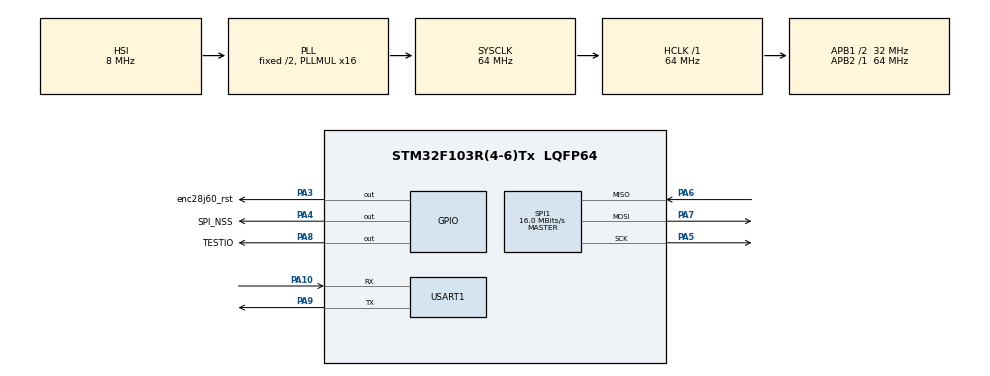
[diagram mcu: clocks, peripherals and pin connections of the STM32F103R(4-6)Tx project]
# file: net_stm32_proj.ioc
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Mcu.Family=STM32F1
Mcu.Name=STM32F103R(4-6)Tx
Mcu.Package=LQFP64
NVIC.PriorityGroup=NVIC_PRIORITYGROUP_4
PA10.Mode=Asynchronous
PA10.Signal=USART1_RX
PA3.GPIO_Label=enc28j60_rst
PA3.Signal=GPIO_Output
PA4.GPIO_Label=SPI_NSS
PA4.Signal=GPIO_Output
PA5.Mode=Full_Duplex_Master
PA5.Signal=SPI1_SCK
PA6.Mode=Full_Duplex_Master
PA6.Signal=SPI1_MISO
PA7.Mode=Full_Duplex_Master
PA7.Signal=SPI1_MOSI
PA8.GPIO_Label=TESTIO
PA8.Signal=GPIO_Output
PA9.Mode=Asynchronous
PA9.Signal=USART1_TX
ProjectManager.HeapSize=0x200
ProjectManager.StackSize=0x400
ProjectManager.TargetToolchain=MDK-ARM V4
RCC.AHBFreq_Value=64000000
RCC.APB1CLKDivider=RCC_HCLK_DIV2
RCC.APB1Freq_Value=32000000
RCC.APB1TimFreq_Value=64000000
RCC.APB2Freq_Value=64000000
RCC.APB2TimFreq_Value=64000000
RCC.HCLKFreq_Value=64000000
RCC.PLLMUL=RCC_PLL_MUL16
RCC.SYSCLKFreq_VALUE=64000000
RCC.SYSCLKSource=RCC_SYSCLKSOURCE_PLLCLK
RCC.USBFreq_Value=64000000
SPI1.BaudRatePrescaler=SPI_BAUDRATEPRESCALER_4
SPI1.CalculateBaudRate=16.0 MBits/s
SPI1.Direction=SPI_DIRECTION_2LINES
SPI1.Mode=SPI_MODE_MASTER
SPI1.VirtualType=VM_MASTER
TIM1.Period=1000
TIM1.Prescaler=64
USART1.VirtualMode=VM_ASYNC
VP_TIM1_VS_ClockSourceINT.Mode=Internal
board=net_stm32_proj

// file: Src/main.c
/**
  ******************************************************************************
  * File Name          : main.c
  * Description        : Main program body
  ******************************************************************************
  *
  * COPYRIGHT(c) 2017 STMicroelectronics
  *
  * Redistribution and use in source and binary forms, with or without modification,
  * are permitted provided that the following conditions are met:
  *   1. Redistributions of source code must retain the above copyright notice,
  *      this list of conditions and the following disclaimer.
  *   2. Redistributions in binary form must reproduce the above copyright notice,
  *      this list of conditions and the following disclaimer in the documentation
  *      and/or other materials provided with the distribution.
  *   3. Neither the name of STMicroelectronics nor the names of its contributors
  *      may be used to endorse or promote products derived from this software
  *      without specific prior written permission.
  *
  * THIS SOFTWARE IS PROVIDED BY THE COPYRIGHT HOLDERS AND CONTRIBUTORS "AS IS"
  * AND ANY EXPRESS OR IMPLIED WARRANTIES, INCLUDING, BUT NOT LIMITED TO, THE
  * IMPLIED WARRANTIES OF MERCHANTABILITY AND FITNESS FOR A PARTICULAR PURPOSE ARE
  * DISCLAIMED. IN NO EVENT SHALL THE COPYRIGHT HOLDER OR CONTRIBUTORS BE LIABLE
  * FOR ANY DIRECT, INDIRECT, INCIDENTAL, SPECIAL, EXEMPLARY, OR CONSEQUENTIAL
  * DAMAGES (INCLUDING, BUT NOT LIMITED TO, PROCUREMENT OF SUBSTITUTE GOODS OR
  * SERVICES; LOSS OF USE, DATA, OR PROFITS; OR BUSINESS INTERRUPTION) HOWEVER
  * CAUSED AND ON ANY THEORY OF LIABILITY, WHETHER IN CONTRACT, STRICT LIABILITY,
  * OR TORT (INCLUDING NEGLIGENCE OR OTHERWISE) ARISING IN ANY WAY OUT OF THE USE
  * OF THIS SOFTWARE, EVEN IF ADVISED OF THE POSSIBILITY OF SUCH DAMAGE.
  *
  ******************************************************************************
  */
#include "main.h"
#include "stm32f1xx_hal.h"

/* USER CODE BEGIN Includes */
#include "stm32f1xx_hal_uart.h"
#include "enc28j60.h"
#include "tapdev.h"
#include "uip.h"
#include "uip_arp.h"
#include "timer.h"
/* USER CODE END Includes */

SPI_HandleTypeDef hspi1;

TIM_HandleTypeDef htim1;

UART_HandleTypeDef huart1;

/* USER CODE BEGIN PV */
/* Private variables ---------------------------------------------------------*/
#define ARP_LEN 60
u32 uip_timer=0;//uip 计时器，每10ms增加1.
#define BUF ((struct uip_eth_hdr *)&uip_buf[0])
extern uint16_t uip_len, uip_slen;
extern uint8_t uip_buf[UIP_BUFSIZE + 2];
uint8_t arpdata[ARP_LEN]={//mac 0x04,0x02,0x35,0x00,0x00,0x01 self ip:0xc0,0xa8,0x5f,0xc8 query ip :0xc0,0xa8,0x0a,0x01
	0xff,0xff,0xff,0xff,0xff,0xff,
	0x04,0x02,0x35,0x00,0x00,0x01,
//	0x01,0x00,0x00,0x35,0x02,0x04,

	0x08,0x06,0x00,0x01,0x08,0x00,0x06,0x04,0x00,0x01,

	0x04,0x02,0x35,0x00,0x00,0x01,
//	0x01,0x00,0x00,0x35,0x02,0x04,
	0xc0,0xa8,0x38,0xc8,
	0x00,0x00,0x00,0x00,0x00,0x00,
	0xc0,0xa8,0x38,0x01,

	0x00,0x00,0x00,0x00,0x00,0x00
,0x00,0x00,0x00,0x00,0x00,0x00,0x00,0x00,0x00,0x00,0x00,0x00
};
/* USER CODE END PV */

void SystemClock_Config(void);
void Error_Handler(void);
static void MX_GPIO_Init(void);
static void MX_SPI1_Init(void);
static void MX_USART1_UART_Init(void);
static void MX_TIM1_Init(void);

/* USER CODE BEGIN PFP */
/* Private function prototypes -----------------------------------------------*/

/* USER CODE END PFP */

/* USER CODE BEGIN 0 */
//加入以下代码,支持printf函数,而不需要选择use MicroLIB
#if 1
#pragma import(__use_no_semihosting)
//标准库需要的支持函数
struct __FILE
{
	int handle;

};

extern FILE __stdout;
//定义_sys_exit()以避免使用半主机模式
void _sys_exit(int x)
{
	x = x;
}
//重定义fputc函数
int fputc(int ch, FILE *f)
{
	HAL_UART_Transmit(&huart1,(uint8_t *)&ch,1,10);
//	while((USART1->SR&0X40)==0);//循环发送,直到发送完毕
//    USART1->DR = (u8) ch;
	return ch;
}
#endif
/* USER CODE END 0 */

int main(void)
{

  /* USER CODE BEGIN 1 */
	static struct timer periodic_timer, arp_timer;
	uint8_t sptdata=0x84;
	uint8_t spid[2]={0x23,0xff},spidr[2];
	uint16_t i;
	u8 timer_ok=0;
	uint32_t tickstart = 0, tickend=0;
  uip_ipaddr_t ipaddr;
  /* USER CODE END 1 */

  /* MCU Configuration----------------------------------------------------------*/

  /* Reset of all peripherals, Initializes the Flash interface and the Systick. */
  HAL_Init();

  /* Configure the system clock */
  SystemClock_Config();

  /* Initialize all configured peripherals */
  MX_GPIO_Init();
  MX_SPI1_Init();
  MX_USART1_UART_Init();
  MX_TIM1_Init();

  /* USER CODE BEGIN 2 */

	printf("Athis is proteus demo\r\ntime:%s\r\n",__TIME__);
//	ENC28J60_Reset();
//	while(0){
//		sptdata = ENC28J60_Read(ESTAT);
//		printf("ESTAT:%x \r\n",sptdata);
//		HAL_Delay(10);
//	}
	while(tapdev_init())
	{
		printf("tapdev_init error\r\n");
	}
	printf("tapdev_init \r\n");
	HAL_Delay(100);
// 	uip_ipaddr(ipaddr, 192,168,95,16);	//设置本地设置IP地址
//	uip_sethostaddr(ipaddr);
//	uip_ipaddr(ipaddr, 192,168,95,1); 	//设置网关IP地址(其实就是你路由器的IP地址)
//	uip_setdraddr(ipaddr);
//	uip_ipaddr(ipaddr, 255,255,255,0);	//设置网络掩码
//	uip_setnetmask(ipaddr);
  /* USER CODE END 2 */

  /* Infinite loop */
  while (1)
  {

  /* USER CODE BEGIN 3 */
//		HAL_GPIO_WritePin(GPIOA,TESTIO_Pin,GPIO_PIN_RESET);
//		HAL_Delay(100);
//		HAL_GPIO_WritePin(GPIOA,TESTIO_Pin,GPIO_PIN_SET);
//		HAL_Delay(100);

		uip_len=tapdev_read();	//从网络设备读取一个IP包,得到数据长度.uip_len在uip.c中定义
		if(uip_len>0) 			//有数据
		{
			printf("rec a packet uip_len %d:",uip_len);
			for(i=0;i<uip_len;i++){
				if(i%16 == 0)
					printf("\r\n");
				printf("%x ",uip_buf[i]);

			}
			printf("\r\nover\r\n");
		}
//		for(i=0;i<500;i++);
		HAL_Delay(1);
//		uip_len = ARP_LEN;
//		printf("send a packet:");
//		for(i=0;i<uip_len;i++){
//			uip_buf[i] = arpdata[i];
//			if(i%16 == 0)
//					printf("\r\n");
//			printf("%x ",uip_buf[i]);
//		}
//		printf("\r\nover\r\n");
//		tapdev_send();
//		HAL_GPIO_WritePin(GPIOA,SPI_NSS_Pin,GPIO_PIN_RESET);
//		HAL_SPI_Transmit(&hspi1,&sptdata,1,10);
//		HAL_GPIO_WritePin(GPIOA,SPI_NSS_Pin,GPIO_PIN_SET);
//		HAL_GPIO_WritePin(GPIOA,SPI_NSS_Pin,GPIO_PIN_RESET);
//		HAL_SPI_Receive(&hspi1,&sptdata,1,10);
//		HAL_GPIO_WritePin(GPIOA,SPI_NSS_Pin,GPIO_PIN_SET);

//		HAL_GPIO_WritePin(GPIOA,SPI_NSS_Pin,GPIO_PIN_RESET);
//		HAL_SPI_TransmitReceive(&hspi1,spid,spidr,2,10);
//		HAL_GPIO_WritePin(GPIOA,SPI_NSS_Pin,GPIO_PIN_SET);
//		printf("%x %x\n\r",spidr[0],spidr[1]);
//		if(timer_ok==0)
//		{
//			timer_ok=1;
//			timer_set(&periodic_timer,CLOCK_SECOND/2);  //创建1个0.5秒的定时器
//			timer_set(&arp_timer,CLOCK_SECOND*10);	   	//创建1个10秒的定时器
//			tickstart = HAL_GetTick();
//			tickend = tickstart;
//		}
//		tickstart = HAL_GetTick();
//		if(tickstart - tickend > 10)
//		{
//			tickend = tickstart;
//			uip_timer++;//uip计时器增加1
//		}
//		uip_len=tapdev_read();	//从网络设备读取一个IP包,得到数据长度.uip_len在uip.c中定义
//		if(uip_len>0) 			//有数据
//		{
//			//处理IP数据包(只有校验通过的IP包才会被接收)
//			if(BUF->type == htons(UIP_ETHTYPE_IP))//是否是IP包?
//			{
//				uip_arp_ipin();	//去除以太网头结构，更新ARP表
//				uip_input();   	//IP包处理
//				//当上面的函数执行后，如果需要发送数据，则全局变量 uip_len > 0
//				//需要发送的数据在uip_buf, 长度是uip_len  (这是2个全局变量)
//				if(uip_len>0)//需要回应数据
//				{
//					uip_arp_out();//加以太网头结构，在主动连接时可能要构造ARP请求
//					tapdev_send();//发送数据到以太网
//				}
//			}else if (BUF->type==htons(UIP_ETHTYPE_ARP))//处理arp报文,是否是ARP请求包?
//			{
//				uip_arp_arpin();
//				//当上面的函数执行后，如果需要发送数据，则全局变量uip_len>0
//				//需要发送的数据在uip_buf, 长度是uip_len(这是2个全局变量)
//				if(uip_len>0)tapdev_send();//需要发送数据,则通过tapdev_send发送
//			}
//		}else if(timer_expired(&periodic_timer))	//0.5秒定时器超时
//		{
//			timer_reset(&periodic_timer);		//复位0.5秒定时器
//			//轮流处理每个TCP连接, UIP_CONNS缺省是40个
//			for(i=0;i<UIP_CONNS;i++)
//			{
//				uip_periodic(i);	//处理TCP通信事件
//				//当上面的函数执行后，如果需要发送数据，则全局变量uip_len>0
//				//需要发送的数据在uip_buf, 长度是uip_len (这是2个全局变量)
//				if(uip_len>0)
//				{
//					uip_arp_out();//加以太网头结构，在主动连接时可能要构造ARP请求
//					tapdev_send();//发送数据到以太网
//				}
//			}
//	#if UIP_UDP	//UIP_UDP
//			//轮流处理每个UDP连接, UIP_UDP_CONNS缺省是10个
//			for(i=0;i<UIP_UDP_CONNS;i++)
//			{
//				uip_udp_periodic(i);	//处理UDP通信事件
//				//当上面的函数执行后，如果需要发送数据，则全局变量uip_len>0
//				//需要发送的数据在uip_buf, 长度是uip_len (这是2个全局变量)
//				if(uip_len > 0)
//				{
//					uip_arp_out();//加以太网头结构，在主动连接时可能要构造ARP请求
//					tapdev_send();//发送数据到以太网
//				}
//			}
//	#endif
//			//每隔10秒调用1次ARP定时器函数 用于定期ARP处理,ARP表10秒更新一次，旧的条目会被抛弃
//			if(timer_expired(&arp_timer))
//			{
//				timer_reset(&arp_timer);
//				uip_arp_timer();
//			}
//		}
  /* USER CODE END 3 */
	}
}

/** System Clock Configuration
*/
void SystemClock_Config(void)
{

  RCC_OscInitTypeDef RCC_OscInitStruct;
  RCC_ClkInitTypeDef RCC_ClkInitStruct;

    /**Initializes the CPU, AHB and APB busses clocks
    */
  RCC_OscInitStruct.OscillatorType = RCC_OSCILLATORTYPE_HSI;
  RCC_OscInitStruct.HSIState = RCC_HSI_ON;
  RCC_OscInitStruct.HSICalibrationValue = 16;
  RCC_OscInitStruct.PLL.PLLState = RCC_PLL_ON;
  RCC_OscInitStruct.PLL.PLLSource = RCC_PLLSOURCE_HSI_DIV2;
  RCC_OscInitStruct.PLL.PLLMUL = RCC_PLL_MUL16;
  if (HAL_RCC_OscConfig(&RCC_OscInitStruct) != HAL_OK)
  {
    Error_Handler();
  }

    /**Initializes the CPU, AHB and APB busses clocks
    */
  RCC_ClkInitStruct.ClockType = RCC_CLOCKTYPE_HCLK|RCC_CLOCKTYPE_SYSCLK
                              |RCC_CLOCKTYPE_PCLK1|RCC_CLOCKTYPE_PCLK2;
  RCC_ClkInitStruct.SYSCLKSource = RCC_SYSCLKSOURCE_PLLCLK;
  RCC_ClkInitStruct.AHBCLKDivider = RCC_SYSCLK_DIV1;
  RCC_ClkInitStruct.APB1CLKDivider = RCC_HCLK_DIV2;
  RCC_ClkInitStruct.APB2CLKDivider = RCC_HCLK_DIV1;

  if (HAL_RCC_ClockConfig(&RCC_ClkInitStruct, FLASH_LATENCY_2) != HAL_OK)
  {
    Error_Handler();
  }

    /**Configure the Systick interrupt time
    */
  HAL_SYSTICK_Config(HAL_RCC_GetHCLKFreq()/1000);

    /**Configure the Systick
    */
  HAL_SYSTICK_CLKSourceConfig(SYSTICK_CLKSOURCE_HCLK);

  /* SysTick_IRQn interrupt configuration */
  HAL_NVIC_SetPriority(SysTick_IRQn, 0, 0);
}

/* SPI1 init function */
static void MX_SPI1_Init(void)
{

  hspi1.Instance = SPI1;
  hspi1.Init.Mode = SPI_MODE_MASTER;
  hspi1.Init.Direction = SPI_DIRECTION_2LINES;
  hspi1.Init.DataSize = SPI_DATASIZE_8BIT;
  hspi1.Init.CLKPolarity = SPI_POLARITY_LOW;
  hspi1.Init.CLKPhase = SPI_PHASE_1EDGE;
  hspi1.Init.NSS = SPI_NSS_SOFT;
  hspi1.Init.BaudRatePrescaler = SPI_BAUDRATEPRESCALER_64;
  hspi1.Init.FirstBit = SPI_FIRSTBIT_MSB;
  hspi1.Init.TIMode = SPI_TIMODE_DISABLE;
  hspi1.Init.CRCCalculation = SPI_CRCCALCULATION_DISABLE;
  hspi1.Init.CRCPolynomial = 10;
  if (HAL_SPI_Init(&hspi1) != HAL_OK)
  {
    Error_Handler();
  }

}

/* TIM1 init function */
static void MX_TIM1_Init(void)
{

  TIM_ClockConfigTypeDef sClockSourceConfig;
  TIM_MasterConfigTypeDef sMasterConfig;

  htim1.Instance = TIM1;
  htim1.Init.Prescaler = 64;
  htim1.Init.CounterMode = TIM_COUNTERMODE_UP;
  htim1.Init.Period = 1000;
  htim1.Init.ClockDivision = TIM_CLOCKDIVISION_DIV1;
  htim1.Init.RepetitionCounter = 0;
  if (HAL_TIM_Base_Init(&htim1) != HAL_OK)
  {
    Error_Handler();
  }

  sClockSourceConfig.ClockSource = TIM_CLOCKSOURCE_INTERNAL;
  if (HAL_TIM_ConfigClockSource(&htim1, &sClockSourceConfig) != HAL_OK)
  {
    Error_Handler();
  }

  sMasterConfig.MasterOutputTrigger = TIM_TRGO_RESET;
  sMasterConfig.MasterSlaveMode = TIM_MASTERSLAVEMODE_DISABLE;
  if (HAL_TIMEx_MasterConfigSynchronization(&htim1, &sMasterConfig) != HAL_OK)
  {
    Error_Handler();
  }

}

/* USART1 init function */
static void MX_USART1_UART_Init(void)
{

  huart1.Instance = USART1;
  huart1.Init.BaudRate = 115200;
  huart1.Init.WordLength = UART_WORDLENGTH_8B;
  huart1.Init.StopBits = UART_STOPBITS_1;
  huart1.Init.Parity = UART_PARITY_NONE;
  huart1.Init.Mode = UART_MODE_TX_RX;
  huart1.Init.HwFlowCtl = UART_HWCONTROL_NONE;
  huart1.Init.OverSampling = UART_OVERSAMPLING_16;
  if (HAL_UART_Init(&huart1) != HAL_OK)
  {
    Error_Handler();
  }

}

/** Configure pins as
        * Analog
        * Input
        * Output
        * EVENT_OUT
        * EXTI
*/
static void MX_GPIO_Init(void)
{

  GPIO_InitTypeDef GPIO_InitStruct;

  /* GPIO Ports Clock Enable */
  __HAL_RCC_GPIOA_CLK_ENABLE();

  /*Configure GPIO pin Output Level */
  HAL_GPIO_WritePin(GPIOA, enc28j60_rst_Pin|SPI_NSS_Pin|TESTIO_Pin, GPIO_PIN_SET);

  /*Configure GPIO pins : enc28j60_rst_Pin SPI_NSS_Pin TESTIO_Pin */
  GPIO_InitStruct.Pin = enc28j60_rst_Pin|SPI_NSS_Pin|TESTIO_Pin;
  GPIO_InitStruct.Mode = GPIO_MODE_OUTPUT_PP;
  GPIO_InitStruct.Speed = GPIO_SPEED_FREQ_LOW;
  HAL_GPIO_Init(GPIOA, &GPIO_InitStruct);

}

void Error_Handler(void)
{
  while(1)
  {
  }
}

/************************ (C) COPYRIGHT STMicroelectronics *****END OF FILE****/
